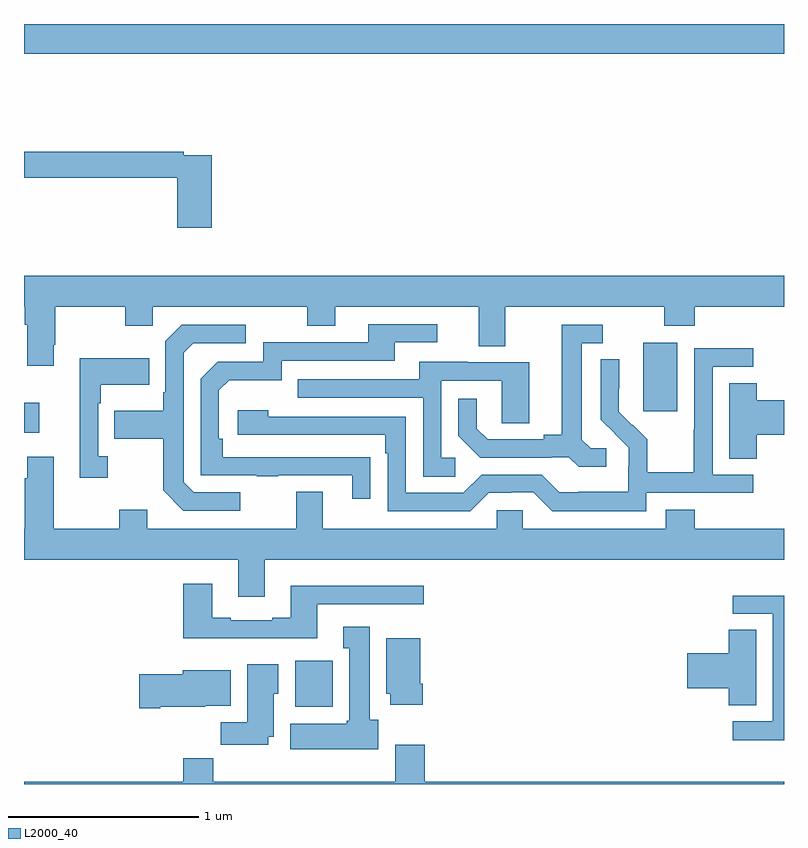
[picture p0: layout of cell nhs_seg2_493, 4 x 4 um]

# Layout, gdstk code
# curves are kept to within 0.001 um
import gdstk
lib = gdstk.Library(unit=1e-6, precision=1e-09)
def R(c, l, rs):  # rectangles x0, y0, x1, y1
    for r in rs: c.add(gdstk.rectangle(r[:2], r[2:], *l))
def P(c, l, *ps):  # polygons
    for p in ps: c.add(gdstk.Polygon(p, *l))
L2000_40 = (2000, 40)

nhs_seg2_493 = lib.new_cell('nhs_seg2_493')
R(nhs_seg2_493, L2000_40, [(136.427,636.206,136.624,636.448), (135,637.649,135.079,637.807), (138.26,637.761,138.439,638.122), (135,639.644,139,639.8)])
P(nhs_seg2_493, L2000_40, [(135.989,639.108),(135.842,639.108),(135.842,639.128),(135,639.128),(135,638.992),(135.806,638.992),(135.806,638.727),(135.989,638.727)],
  [(135.157,638.113),(135.165,638.113),(135.165,638.312),(135.532,638.312),(135.532,638.213),(135.678,638.213),(135.678,638.312),(136.492,638.312),(136.492,638.213),(136.639,638.213),(136.639,638.312),(137.393,638.312),(137.393,638.104),(137.533,638.104),(137.533,638.312),(138.37,638.312),(138.37,638.213),(138.53,638.213),(138.53,638.312),(139,638.312),(139,638.476),(135,638.476),(135,638.312),(135.005,638.312),(135.005,638.216),(135.017,638.216),(135.017,638.001),(135.157,638.001)],
  [(136.823,637.52),(136.046,637.521),(136.046,637.618),(136.026,637.618),(136.026,637.872),(136.079,637.925),(136.356,637.925),(136.356,638.028),(136.951,638.028),(136.951,638.124),(137.176,638.124),(137.176,638.22),(136.811,638.22),(136.811,638.124),(136.26,638.124),(136.26,638.022),(136.02,638.022),(135.93,637.932),(135.93,637.425),(136.225,637.425),(136.225,637.42),(136.337,637.42),(136.337,637.425),(136.727,637.425),(136.727,637.302),(136.823,637.302)],
  [(138.064,637.566),(137.982,637.566),(137.935,637.613),(137.935,638.121),(138.046,638.121),(138.046,638.217),(137.831,638.217),(137.831,637.637),(137.735,637.637),(137.735,637.614),(137.44,637.614),(137.383,637.671),(137.383,637.828),(137.286,637.828),(137.286,637.634),(137.402,637.518),(137.774,637.518),(137.774,637.521),(137.868,637.521),(137.92,637.469),(138.064,637.469)],
  [(136.138,637.335),(135.894,637.335),(135.84,637.389),(135.84,638.07),(135.891,638.121),(136.168,638.121),(136.168,638.217),(135.831,638.217),(135.744,638.13),(135.744,637.861),(135.732,637.861),(135.732,637.765),(135.475,637.765),(135.475,637.618),(135.732,637.618),(135.732,637.345),(135.837,637.239),(136.138,637.239)],
  [(138.276,637.332),(138.838,637.332),(138.838,637.428),(138.624,637.428),(138.624,637.995),(138.838,637.995),(138.838,638.094),(138.528,638.094),(138.528,637.664),(138.526,637.664),(138.526,637.441),(138.281,637.441),(138.281,637.615),(138.204,637.692),(138.201,637.689),(138.131,637.76),(138.132,638.036),(138.036,638.036),(138.036,637.718),(138.182,637.57),(138.182,637.473),(138.18,637.473),(138.18,637.339),(137.917,637.339),(137.917,637.335),(137.817,637.335),(137.724,637.428),(137.409,637.428),(137.313,637.332),(137.01,637.332),(137.01,637.734),(136.286,637.734),(136.286,637.768),(136.125,637.768),(136.125,637.638),(136.901,637.638),(136.901,637.541),(136.914,637.541),(136.914,637.236),(137.349,637.236),(137.445,637.332),(137.564,637.332),(137.564,637.335),(137.679,637.335),(137.779,637.235),(138.276,637.235)],
  [(135.442,637.526),(135.39,637.526),(135.39,637.805),(135.403,637.805),(135.403,637.901),(135.659,637.901),(135.659,638.041),(135.293,638.041),(135.293,637.413),(135.442,637.413)],
  [(137.269,637.518),(137.196,637.518),(137.196,637.923),(137.514,637.923),(137.514,637.699),(137.659,637.699),(137.659,638.019),(137.335,638.019),(137.335,638.023),(137.081,638.023),(137.081,637.929),(136.441,637.929),(136.441,637.833),(137.1,637.833),(137.1,637.417),(137.269,637.417)],
  [(138.857,637.637),(139,637.637),(139,637.82),(138.857,637.82),(138.857,637.91),(138.713,637.91),(138.713,637.513),(138.857,637.513)],
  [(136.267,636.98),(139,636.98),(139,637.144),(138.53,637.144),(138.53,637.243),(138.377,637.243),(138.377,637.144),(137.625,637.144),(137.625,637.242),(137.487,637.242),(137.487,637.144),(136.573,637.144),(136.573,637.339),(136.433,637.339),(136.433,637.144),(135.649,637.144),(135.649,637.243),(135.502,637.243),(135.502,637.144),(135.157,637.144),(135.157,637.522),(135.017,637.522),(135.017,637.409),(135.005,637.409),(135.005,637.144),(135,637.144),(135,636.98),(136.127,636.98),(136.127,636.786),(136.267,636.786)],
  [(136.543,636.747),(137.104,636.747),(137.104,636.844),(136.403,636.844),(136.403,636.676),(136.307,636.676),(136.307,636.663),(136.087,636.663),(136.087,636.676),(135.991,636.676),(135.991,636.853),(135.839,636.853),(135.839,636.566),(136.543,636.566)],
  [(139,636.792),(138.729,636.792),(138.729,636.696),(138.942,636.696),(138.942,636.129),(138.729,636.129),(138.729,636.031),(139,636.031)],
  [(136.864,636.138),(136.819,636.138),(136.819,636.628),(136.679,636.628),(136.679,636.515),(136.712,636.515),(136.712,636.132),(136.699,636.132),(136.699,636.118),(136.4,636.118),(136.4,635.984),(136.864,635.984)],
  [(138.853,636.611),(138.71,636.611),(138.71,636.488),(138.492,636.488),(138.492,636.305),(138.71,636.305),(138.71,636.214),(138.853,636.214)],
  [(137.099,636.328),(137.086,636.328),(137.086,636.568),(136.907,636.568),(136.907,636.276),(136.928,636.276),(136.928,636.216),(137.099,636.216)],
  [(136.285,636.05),(136.315,636.05),(136.315,636.276),(136.339,636.276),(136.339,636.43),(136.175,636.43),(136.175,636.124),(136.036,636.124),(136.036,636.006),(136.285,636.006)],
  [(135.718,636.206),(135.954,636.206),(135.954,636.212),(136.087,636.212),(136.087,636.4),(135.836,636.4),(135.836,636.377),(135.606,636.377),(135.606,636.199),(135.718,636.199)],
  [(135.839,635.936),(135.839,635.812),(135,635.812),(135,635.8),(139,635.8),(139,635.812),(137.108,635.812),(137.108,636.007),(136.955,636.007),(136.955,635.812),(135.995,635.812),(135.995,635.936)])

lib.write_gds('nhs_seg2_493.gds')
